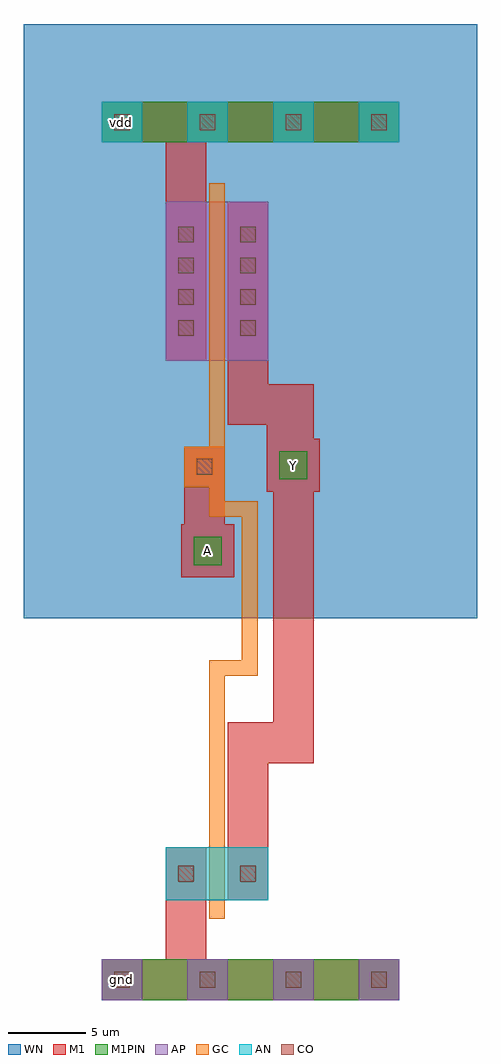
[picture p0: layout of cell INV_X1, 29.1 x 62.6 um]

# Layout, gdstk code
import gdstk
lib = gdstk.Library(unit=1e-6, precision=1e-09)
def R(c, l, rs):  # rectangles x0, y0, x1, y1
    for r in rs: c.add(gdstk.rectangle(r[:2], r[2:], *l))
def A(c, l, x, y, w, h, nx, ny, dx, dy):  # array of equal rectangles
    R(c, l, [(x+i*dx, y+j*dy, x+i*dx+w, y+j*dy+h) for i in range(nx) for j in range(ny)])
def P(c, l, *ps):  # polygons
    for p in ps: c.add(gdstk.Polygon(p, *l))
AP = (3, 1)
AN = (3, 2)
GC = (8, 1)
CO = (11, 0)
M1 = (13, 0)
M1PIN = (48, 1)
WN = (140, 0)

inv_x1 = lib.new_cell('INV_X1')
A(inv_x1, AP, -1.3, -1.3, 2.6, 2.6, 4, 1, 5.5, 0)
R(inv_x1, AP, [(2.8,39.7,9.4,49.9)])
A(inv_x1, AN, -1.3, 53.7, 2.6, 2.6, 4, 1, 5.5, 0)
R(inv_x1, AN, [(2.8,5.1,9.4,8.5)])
P(inv_x1, GC, [(5.6,3.9),(5.6,20.5),(7.7,20.5),(7.7,29.7),(5.6,29.7),(5.6,31.6),(4,31.6),(4,34.2),(5.6,34.2),(5.6,51.1),(6.6,51.1),(6.6,30.7),(8.7,30.7),(8.7,19.5),(6.6,19.5),(6.6,3.9)])
A(inv_x1, CO, -0.5, -0.5, 1, 1, 4, 2, 5.5, 55)
A(inv_x1, CO, 3.6, 41.3, 1, 1, 1, 4, 0, 2)
A(inv_x1, CO, 7.6, 41.3, 1, 1, 1, 4, 0, 2)
R(inv_x1, CO, [(3.6,6.3,4.6,7.3), (7.6,6.3,8.6,7.3), (4.8,32.4,5.8,33.4)])
P(inv_x1, M1, [(-1.3,-1.3),(-1.3,1.3),(2.8,1.3),(2.8,8.5),(5.4,8.5),(5.4,1.3),(17.8,1.3),(17.8,-1.3)],
  [(3.8,25.8),(3.8,29.2),(4,29.2),(4,34.2),(6.6,34.2),(6.6,29.2),(7.2,29.2),(7.2,25.8)],
  [(6.8,5.1),(6.8,16.5),(9.7,16.5),(9.7,31.3),(9.3,31.3),(9.3,35.6),(6.8,35.6),(6.8,49.9),(9.4,49.9),(9.4,38.2),(12.3,38.2),(12.3,34.7),(12.7,34.7),(12.7,31.3),(12.3,31.3),(12.3,13.9),(9.4,13.9),(9.4,5.1)],
  [(2.8,39.7),(2.8,53.7),(-1.3,53.7),(-1.3,56.3),(17.8,56.3),(17.8,53.7),(5.4,53.7),(5.4,39.7)])
R(inv_x1, M1PIN, [(-1.3,-1.3,17.8,1.3), (4.6,26.6,6.4,28.4), (10.1,32.1,11.9,33.9), (-1.3,53.7,17.8,56.3)])
R(inv_x1, WN, [(-6.3,23.2,22.8,61.3)])
inv_x1.add(gdstk.Label('A', (5.5,27.5), layer=48, texttype=0))
inv_x1.add(gdstk.Label('vdd', (0,55), layer=48, texttype=0))
inv_x1.add(gdstk.Label('gnd', (0,0), layer=48, texttype=0))
inv_x1.add(gdstk.Label('Y', (11,33), layer=48, texttype=0))

lib.write_gds('INV_X1.gds')
